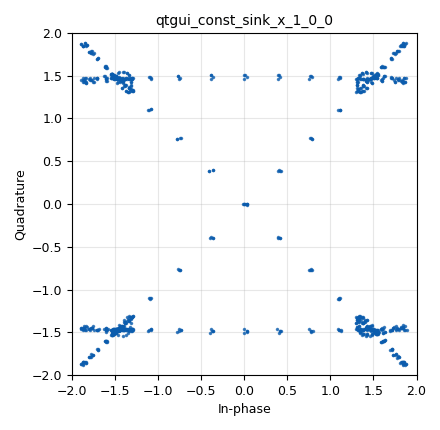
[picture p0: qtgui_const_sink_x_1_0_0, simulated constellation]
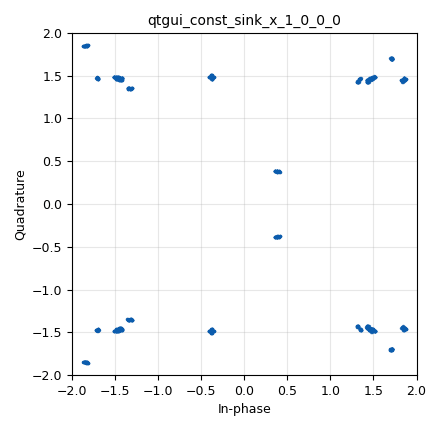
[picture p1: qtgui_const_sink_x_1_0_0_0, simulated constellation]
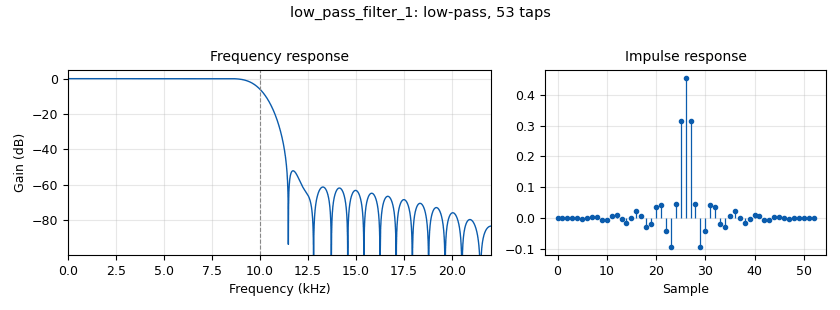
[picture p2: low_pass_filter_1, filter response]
options:
  parameters:
    author: Rosa
    copyright: Apache 2
    generate_options: qt_gui
    id: apay
    output_language: python
    title: apay
  states: {}

blocks:
- name: alpha
  id: variable
  parameters:
    value: '0.35'
  states: {}
- name: mod_freq
  id: variable
  parameters:
    value: '10000'
  states: {}
- name: rrc
  id: variable
  parameters:
    value: firdes.root_raised_cosine(1.0, samp_rate, samp_rate//sps, alpha, 8)
  states: {}
- name: samp_rate
  id: variable
  parameters:
    value: '44100'
  states: {}
- name: sps
  id: variable
  parameters:
    value: '10'
  states: {}
- name: variable_constellation_0
  id: variable_constellation
  parameters:
    const_points: '[(-3-3j), (-1-3j), (1-3j), (3-3j), (-3-1j), (-1-1j), (1-1j), (3-1j), (-3+1j), (-1+1j), (1+1j), (3+1j), (-3+3j), (-1+3j), (1+3j), (3+3j)]'
    dims: '4'
    precision: '8'
    sym_map: '[0, 4, 12, 8, 1, 5, 13, 9, 3, 7, 15, 11, 2, 6, 14, 10]'
    type: qpsk
  states: {}
- name: variable_rrc_filter_taps_0
  id: variable_rrc_filter_taps
  parameters:
    alpha: alpha
    gain: '1.0'
    ntaps: 11*sps
    samp_rate: samp_rate
    sym_rate: samp_rate//sps
  states: {}
- name: analog_random_source_x_0
  id: analog_random_source_x
  parameters:
    max: '2'
    min: '0'
    num_samps: '1000'
    repeat: 'True'
    type: byte
  states: {}
- name: analog_sig_source_x_0
  id: analog_sig_source_x
  parameters:
    amp: '1.44'
    freq: mod_freq
    offset: '0'
    phase: '0'
    samp_rate: samp_rate
    type: float
    waveform: analog.GR_COS_WAVE
  states: {}
- name: analog_sig_source_x_0_0
  id: analog_sig_source_x
  parameters:
    amp: '-1.44'
    freq: mod_freq
    offset: '0'
    phase: '0'
    samp_rate: samp_rate
    type: float
    waveform: analog.GR_SIN_WAVE
  states: {}
- name: audio_sink_0
  id: audio_sink
  parameters:
    samp_rate: samp_rate
  states: {state: disabled}
- name: band_pass_filter_0
  id: band_pass_filter
  parameters:
    decim: '1'
    gain: '1'
    high_cutoff_freq: ''
    low_cutoff_freq: ''
    samp_rate: samp_rate
    type: fir_filter_ccf
    width: ''
    win: firdes.WIN_HAMMING
  states: {state: disabled}
- name: blocks_add_xx_0
  id: blocks_add_xx
  parameters:
    type: float
  states: {}
- name: blocks_add_xx_0_0
  id: blocks_add_xx
  parameters:
    type: float
  states: {state: disabled}
- name: blocks_complex_to_imag_0
  id: blocks_complex_to_imag
  parameters: {}
  states: {}
- name: blocks_complex_to_real_0
  id: blocks_complex_to_real
  parameters: {}
  states: {}
- name: blocks_float_to_complex_1
  id: blocks_float_to_complex
  parameters: {}
  states: {}
- name: blocks_float_to_complex_1_0
  id: blocks_float_to_complex
  parameters: {}
  states: {}
- name: blocks_multiply_xx_0
  id: blocks_multiply_xx
  parameters:
    type: float
  states: {}
- name: blocks_multiply_xx_0_1
  id: blocks_multiply_xx
  parameters:
    type: float
  states: {}
- name: blocks_multiply_xx_0_2
  id: blocks_multiply_xx
  parameters:
    type: complex
  states: {}
- name: blocks_null_sink_0
  id: blocks_null_sink
  parameters:
    type: complex
  states: {state: disabled}
- name: blocks_pack_k_bits_bb_0
  id: blocks_pack_k_bits_bb
  parameters:
    k: '1'
  states: {}
- name: blocks_throttle_0
  id: blocks_throttle
  parameters:
    samples_per_second: samp_rate
    type: complex
  states: {state: disabled}
- name: blocks_vector_source_x_0
  id: blocks_vector_source_x
  parameters:
    repeat: 'True'
    type: byte
    vector: (0, 0, 0, 0)
  states: {state: disabled}
- name: digital_constellation_decoder_cb_0
  id: digital_constellation_decoder_cb
  parameters:
    constellation: variable_constellation_0
  states: {}
- name: digital_constellation_modulator_0
  id: digital_constellation_modulator
  parameters:
    constellation: variable_constellation_0
    differential: 'True'
    excess_bw: alpha
    samples_per_symbol: sps
  states: {}
- name: digital_diff_decoder_bb_0
  id: digital_diff_decoder_bb
  parameters:
    modulus: '2'
  states: {}
- name: digital_pfb_clock_sync_xxx_0
  id: digital_pfb_clock_sync_xxx
  parameters:
    filter_size: '32'
    init_phase: '16'
    loop_bw: '0.0628'
    max_dev: '1.5'
    osps: '1'
    sps: sps
    taps: rrc
    type: ccf
  states: {state: disabled}
- name: fir_filter_xxx_0
  id: fir_filter_xxx
  parameters:
    decim: sps
    taps: (1)
    type: ccc
  states: {}
- name: low_pass_filter_1
  id: low_pass_filter
  parameters:
    cutoff_freq: '10000'
    decim: '1'
    gain: '1'
    samp_rate: samp_rate
    type: fir_filter_ccf
    width: '2000'
    win: firdes.WIN_HAMMING
  states: {}
- name: qtgui_const_sink_x_0
  id: qtgui_const_sink_x
  parameters:
    size: '1024'
    type: complex
  states: {state: disabled}
- name: qtgui_const_sink_x_1_0
  id: qtgui_const_sink_x
  parameters:
    grid: 'True'
    nconnections: '2'
    size: '10'
    type: complex
  states: {state: disabled}
- name: qtgui_const_sink_x_1_0_0
  id: qtgui_const_sink_x
  parameters:
    grid: 'True'
    size: '1024'
    type: complex
  states: {}
- name: qtgui_const_sink_x_1_0_0_0
  id: qtgui_const_sink_x
  parameters:
    grid: 'True'
    size: '1024'
    type: complex
  states: {}
- name: qtgui_freq_sink_x_0_0
  id: qtgui_freq_sink_x
  parameters:
    bw: samp_rate
    fc: '0'
    fftsize: '1024'
    type: float
    wintype: firdes.WIN_BLACKMAN_hARRIS
  states: {state: disabled}
- name: qtgui_freq_sink_x_0_0_0
  id: qtgui_freq_sink_x
  parameters:
    bw: samp_rate
    fc: '0'
    fftsize: '1024'
    type: complex
    wintype: firdes.WIN_BLACKMAN_hARRIS
  states: {state: disabled}
- name: qtgui_freq_sink_x_0_0_0_0
  id: qtgui_freq_sink_x
  parameters:
    bw: samp_rate
    fc: '0'
    fftsize: '1024'
    type: complex
    wintype: firdes.WIN_BLACKMAN_hARRIS
  states: {state: disabled}
- name: qtgui_freq_sink_x_0_0_1
  id: qtgui_freq_sink_x
  parameters:
    bw: samp_rate
    fc: '0'
    fftsize: '1024'
    type: complex
    wintype: firdes.WIN_BLACKMAN_hARRIS
  states: {state: disabled}
- name: qtgui_number_sink_0
  id: qtgui_number_sink
  parameters:
    graph_type: qtgui.NUM_GRAPH_HORIZ
    type: byte
  states: {}
- name: qtgui_time_sink_x_0
  id: qtgui_time_sink_x
  parameters:
    size: '1024'
    srate: samp_rate
    type: float
  states: {state: disabled}
- name: qtgui_time_sink_x_0_0
  id: qtgui_time_sink_x
  parameters:
    size: '1024'
    srate: samp_rate
    type: complex
  states: {state: disabled}

connections:
- [analog_random_source_x_0, '0', blocks_pack_k_bits_bb_0, '0']
- [analog_sig_source_x_0, '0', blocks_float_to_complex_1_0, '0']
- [analog_sig_source_x_0, '0', blocks_multiply_xx_0, '1']
- [analog_sig_source_x_0_0, '0', blocks_float_to_complex_1_0, '1']
- [analog_sig_source_x_0_0, '0', blocks_multiply_xx_0_1, '1']
- [blocks_add_xx_0, '0', audio_sink_0, '0']
- [blocks_add_xx_0, '0', blocks_float_to_complex_1, '0']
- [blocks_add_xx_0, '0', qtgui_freq_sink_x_0_0, '0']
- [blocks_add_xx_0, '0', qtgui_time_sink_x_0, '0']
- [blocks_complex_to_imag_0, '0', blocks_multiply_xx_0_1, '0']
- [blocks_complex_to_real_0, '0', blocks_multiply_xx_0, '0']
- [blocks_float_to_complex_1, '0', blocks_multiply_xx_0_2, '0']
- [blocks_float_to_complex_1_0, '0', blocks_multiply_xx_0_2, '1']
- [blocks_multiply_xx_0, '0', blocks_add_xx_0, '0']
- [blocks_multiply_xx_0_1, '0', blocks_add_xx_0, '1']
- [blocks_multiply_xx_0_2, '0', low_pass_filter_1, '0']
- [blocks_pack_k_bits_bb_0, '0', digital_constellation_modulator_0, '0']
- [digital_constellation_decoder_cb_0, '0', digital_diff_decoder_bb_0, '0']
- [digital_constellation_modulator_0, '0', blocks_complex_to_imag_0, '0']
- [digital_constellation_modulator_0, '0', blocks_complex_to_real_0, '0']
- [digital_constellation_modulator_0, '0', qtgui_const_sink_x_1_0, '0']
- [digital_constellation_modulator_0, '0', qtgui_freq_sink_x_0_0_1, '0']
- [digital_diff_decoder_bb_0, '0', qtgui_number_sink_0, '0']
- [fir_filter_xxx_0, '0', digital_constellation_decoder_cb_0, '0']
- [fir_filter_xxx_0, '0', qtgui_const_sink_x_1_0_0_0, '0']
- [low_pass_filter_1, '0', fir_filter_xxx_0, '0']
- [low_pass_filter_1, '0', qtgui_const_sink_x_1_0, '1']
- [low_pass_filter_1, '0', qtgui_const_sink_x_1_0_0, '0']
- [low_pass_filter_1, '0', qtgui_freq_sink_x_0_0_0, '0']

metadata:
  file_format: 1
